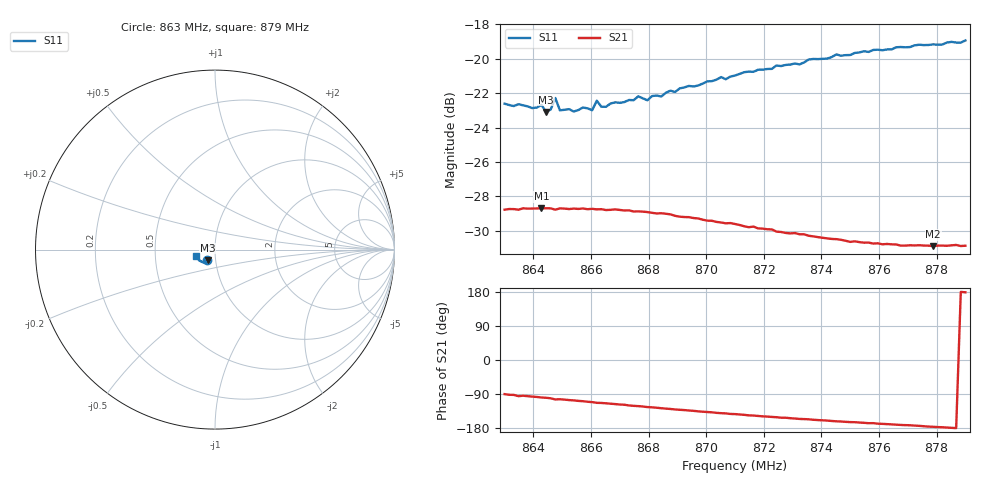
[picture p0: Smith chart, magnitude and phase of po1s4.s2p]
# HZ S RI R 50
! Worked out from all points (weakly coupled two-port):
!   101 points, 863 MHz to 879 MHz, reference 50 ohm
!   highest |S21| = -28.68 dB at 864.28 MHz (marker M1); lowest = -30.9 dB at 877.88 MHz (marker M2)
!   lowest |S11| = -23.1 dB at 864.44 MHz (marker M3), VSWR 1.15, Z = 45.9 - j5.31 ohm
!   |S11| at or under -10 dB: start of sweep to end of sweep
!   S12 and S22 are empty: the file has one direction only
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8.63e8  -0.0446 -0.0592  -3e-05 -0.0364  0 0  0 0
8.6396e8  -0.0416 -0.0586  -0.00422 -0.0365  0 0  0 0
8.6428e8  -0.041 -0.061  -0.00574 -0.0363  0 0  0 0
8.6444e8  -0.04 -0.0576  -0.00617 -0.0363  0 0  0 0
8.646e8  -0.0406 -0.0585  -0.00709 -0.0361  0 0  0 0
8.6476e8  -0.0488 -0.0595  -0.00885 -0.0353  0 0  0 0
8.6492e8  -0.0401 -0.0584  -0.00862 -0.0357  0 0  0 0
8.6572e8  -0.0384 -0.0612  -0.0118 -0.0348  0 0  0 0
8.6604e8  -0.0375 -0.0602  -0.0132 -0.0342  0 0  0 0
8.662e8  -0.0435 -0.0618  -0.0143 -0.0336  0 0  0 0
8.6636e8  -0.0387 -0.0614  -0.0145 -0.0336  0 0  0 0
8.6652e8  -0.0377 -0.062  -0.0149 -0.0331  0 0  0 0
8.6764e8  -0.0403 -0.0665  -0.0189 -0.0307  0 0  0 0
8.6796e8  -0.0402 -0.0643  -0.0202 -0.0297  0 0  0 0
8.6812e8  -0.0418 -0.0658  -0.0204 -0.0293  0 0  0 0
8.6844e8  -0.0405 -0.0664  -0.0215 -0.0283  0 0  0 0
8.6876e8  -0.0432 -0.0683  -0.0223 -0.0274  0 0  0 0
8.71e8  -0.0531 -0.072  -0.0263 -0.02  0 0  0 0
8.7372e8  -0.072 -0.0693  -0.0282 -0.0115  0 0  0 0
8.7644e8  -0.0911 -0.0552  -0.0284 -0.00508  0 0  0 0
8.7788e8  -0.101 -0.044  -0.0285 -0.00185  0 0  0 0
8.79e8  -0.1074 -0.0357  -0.0286 0.000683  0 0  0 0
